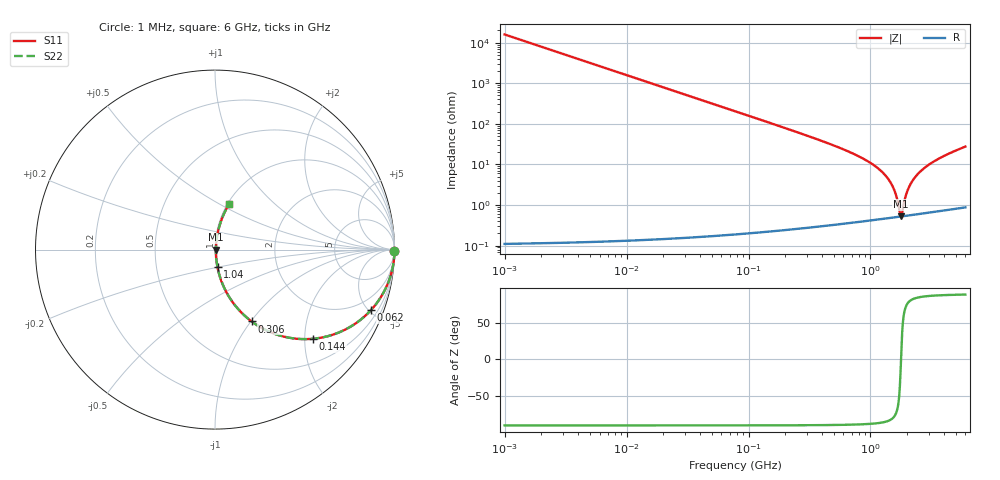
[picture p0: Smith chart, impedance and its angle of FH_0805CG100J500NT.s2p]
! FH 0805CG100J500NT 10 pF 0805 C0G (C14 C16)
! FH publishes no RF data: typical 0805 C0G model, ESL=0.8 nH, ESR=0.10+0.10*sqrt(f/100MHz) ohm
! Generated by make_s2p.py - an estimate, not a measurement
! Series-thru 2-port: part connected between port 1 and port 2.
# Hz S RI R 50
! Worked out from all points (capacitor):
!   1500 points, 1 MHz to 6 GHz, reference 50 ohm
!   read as one part in series: C = 10 pF near 8 MHz
!   lowest |Z| = 522 mohm at 1.78 GHz (marker M1)
!   series resonance near 1.779 GHz, so ESL is about 800 pH
!   S11 on the Smith chart (normalised r, x): 1 MHz: open; 62 MHz: 1.00, -5.13; 144 MHz: 1.00, -2.20; 306 MHz: 1.01, -1.01; 1.04 GHz: 1.01, -0.20; 6 GHz: 1.02, +0.55
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1000000  1 -0.00628  3.95e-05 0.00628  3.95e-05 0.00628  1 -0.00628
3000000  0.9996 -0.0188  0.000356 0.0188  0.000356 0.0188  0.9996 -0.0188
5000000  0.999 -0.0314  0.000987 0.0314  0.000987 0.0314  0.999 -0.0314
1.9e7  0.9859 -0.1177  0.0141 0.1177  0.0141 0.1177  0.9859 -0.1177
6.2e7  0.8678 -0.3384  0.1322 0.3384  0.1322 0.3384  0.8678 -0.3384
7.8e7  0.8055 -0.3953  0.1945 0.3953  0.1945 0.3953  0.8055 -0.3953
1.44e8  0.5465 -0.4968  0.4535 0.4968  0.4535 0.4968  0.5465 -0.4968
3.06e8  0.2043 -0.4005  0.7957 0.4005  0.7957 0.4005  0.2043 -0.4005
3.31e8  0.1788 -0.3801  0.8212 0.3801  0.8212 0.3801  0.1788 -0.3801
6.57e8  0.0451 -0.1991  0.9549 0.1991  0.9549 0.1991  0.0451 -0.1991
1.04e9  0.0141 -0.0989  0.9859 0.0989  0.9859 0.0989  0.0141 -0.0989
1.23e9  0.00897 -0.0667  0.991 0.0667  0.991 0.0667  0.00897 -0.0667
1.41e9  0.00647 -0.0415  0.9935 0.0415  0.9935 0.0415  0.00647 -0.0415
1.57e9  0.00543 -0.0222  0.9946 0.0222  0.9946 0.0222  0.00543 -0.0222
1.73e9  0.00516 -0.00499  0.9948 0.00499  0.9948 0.00499  0.00516 -0.00499
1.78e9  0.00519 5.91e-05  0.9948 -5.91e-05  0.9948 -5.91e-05  0.00519 5.91e-05
1.83e9  0.00527 0.00496  0.9947 -0.00496  0.9947 -0.00496  0.00527 0.00496
1.95e9  0.00565 0.0162  0.9943 -0.0162  0.9943 -0.0162  0.00565 0.0162
2.07e9  0.00624 0.0268  0.9938 -0.0268  0.9938 -0.0268  0.00624 0.0268
2.5e9  0.00973 0.061  0.9903 -0.061  0.9903 -0.061  0.00973 0.061
3.52e9  0.0236 0.1277  0.9764 -0.1277  0.9764 -0.1277  0.0236 0.1277
6e9  0.0773 0.2516  0.9227 -0.2516  0.9227 -0.2516  0.0773 0.2516
